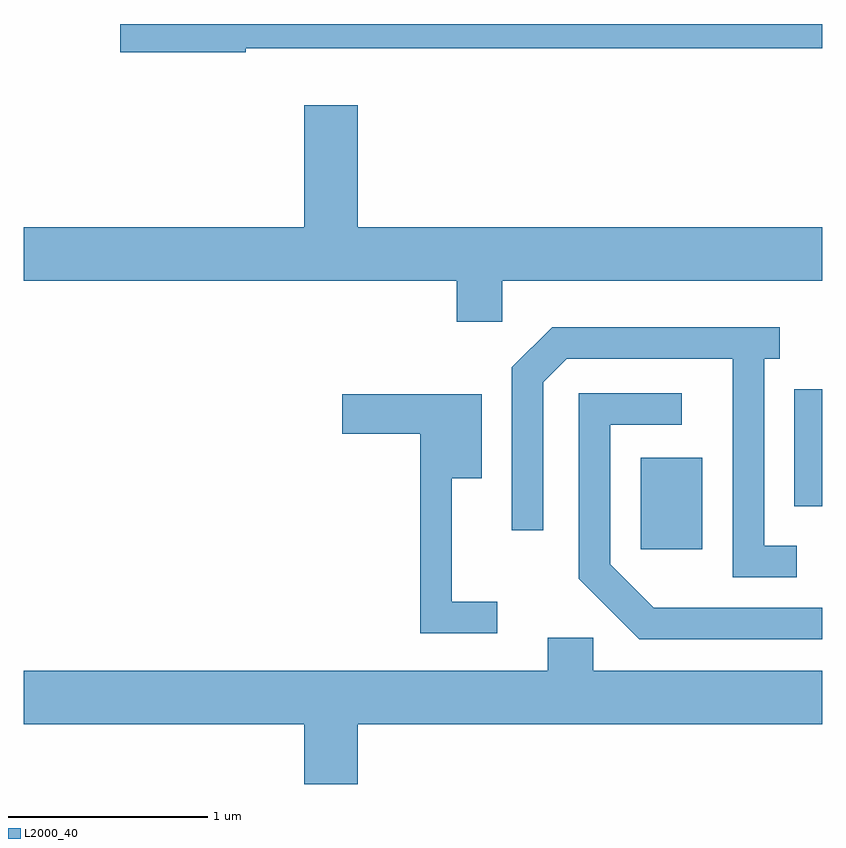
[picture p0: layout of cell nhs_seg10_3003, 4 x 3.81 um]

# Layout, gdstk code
import gdstk
lib = gdstk.Library(unit=1e-6, precision=1e-09)
def R(c, l, rs):  # rectangles x0, y0, x1, y1
    for r in rs: c.add(gdstk.rectangle(r[:2], r[2:], *l))
def P(c, l, *ps):  # polygons
    for p in ps: c.add(gdstk.Polygon(p, *l))
L2000_40 = (2000, 40)

nhs_seg10_3003 = lib.new_cell('nhs_seg10_3003')
R(nhs_seg10_3003, L2000_40, [(276.701,2125.891,277.009,2126.349), (277.471,2126.108,277.611,2126.694)])
P(nhs_seg10_3003, L2000_40, [(274.724,2128.401),(277.611,2128.401),(277.611,2128.522),(274.096,2128.522),(274.096,2128.381),(274.724,2128.381)],
  [(276.009,2127.236),(277.611,2127.236),(277.611,2127.504),(275.284,2127.504),(275.284,2128.114),(275.016,2128.114),(275.016,2127.504),(273.611,2127.504),(273.611,2127.236),(275.781,2127.236),(275.781,2127.031),(276.009,2127.031)],
  [(277.483,2125.909),(277.319,2125.909),(277.319,2126.846),(277.398,2126.846),(277.398,2127.004),(276.259,2127.004),(276.056,2126.802),(276.056,2125.988),(276.214,2125.988),(276.214,2126.729),(276.332,2126.846),(277.161,2126.846),(277.161,2125.751),(277.483,2125.751)],
  [(277.611,2125.599),(276.767,2125.599),(276.549,2125.817),(276.549,2126.516),(276.908,2126.516),(276.908,2126.674),(276.391,2126.674),(276.391,2125.744),(276.694,2125.441),(277.611,2125.441)],
  [(275.983,2125.629),(275.754,2125.629),(275.754,2126.246),(275.904,2126.246),(275.904,2126.669),(275.206,2126.669),(275.206,2126.471),(275.596,2126.471),(275.596,2125.471),(275.983,2125.471)],
  [(275.284,2125.016),(277.611,2125.016),(277.611,2125.284),(276.464,2125.284),(276.464,2125.449),(276.236,2125.449),(276.236,2125.284),(273.611,2125.284),(273.611,2125.016),(275.016,2125.016),(275.016,2124.716),(275.284,2124.716)])

lib.write_gds('nhs_seg10_3003.gds')
